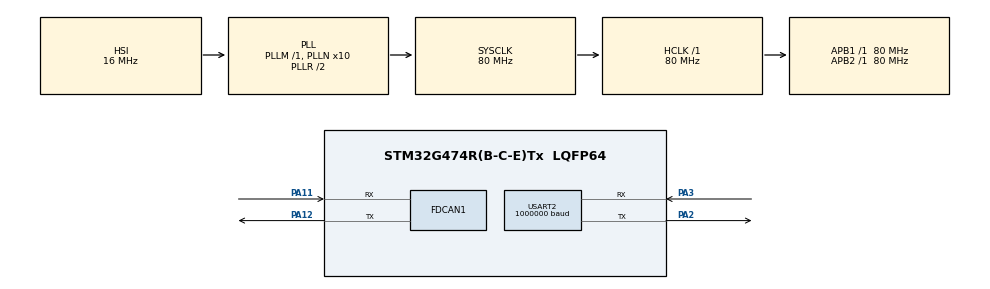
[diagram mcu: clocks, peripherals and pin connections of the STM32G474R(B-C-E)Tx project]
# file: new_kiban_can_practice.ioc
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FDCAN1.CalculateBaudRateNominal=1000000
FDCAN1.CalculateTimeBitNominal=1000
FDCAN1.CalculateTimeQuantumNominal=50.0
FDCAN1.DataPrescaler=2
FDCAN1.DataTimeSeg1=15
FDCAN1.DataTimeSeg2=4
FDCAN1.FrameFormat=FDCAN_FRAME_FD_BRS
FDCAN1.NominalPrescaler=4
FDCAN1.NominalTimeSeg1=15
FDCAN1.NominalTimeSeg2=4
FDCAN1.StdFiltersNbr=1
Mcu.Family=STM32G4
Mcu.Name=STM32G474R(B-C-E)Tx
Mcu.Package=LQFP64
NVIC.FDCAN1_IT0_IRQn=true\:1\:0\:true\:false\:true\:true\:true\:true
NVIC.FDCAN1_IT1_IRQn=true\:1\:0\:true\:false\:true\:true\:true\:true
NVIC.PriorityGroup=NVIC_PRIORITYGROUP_4
PA11.Mode=FDCAN_Activate
PA11.Signal=FDCAN1_RX
PA12.Mode=FDCAN_Activate
PA12.Signal=FDCAN1_TX
PA2.Mode=Asynchronous
PA2.Signal=USART2_TX
PA3.Mode=Asynchronous
PA3.Signal=USART2_RX
ProjectManager.HeapSize=0x200
ProjectManager.StackSize=0x400
ProjectManager.TargetToolchain=STM32CubeIDE
RCC.ADC12Freq_Value=80000000
RCC.ADC345Freq_Value=80000000
RCC.AHBFreq_Value=80000000
RCC.APB1Freq_Value=80000000
RCC.APB1TimFreq_Value=80000000
RCC.APB2Freq_Value=80000000
RCC.APB2TimFreq_Value=80000000
RCC.CortexFreq_Value=80000000
RCC.EXTERNAL_CLOCK_VALUE=12288000
RCC.HCLKFreq_Value=80000000
RCC.HSE_VALUE=8000000
RCC.HSI48_VALUE=48000000
RCC.HSI_VALUE=16000000
RCC.LSE_VALUE=32768
RCC.PLLN=10
RCC.SYSCLKFreq_VALUE=80000000
RCC.SYSCLKSource=RCC_SYSCLKSOURCE_PLLCLK
RCC.USBFreq_Value=80000000
RCC.VCOOutputFreq_Value=160000000
USART2.BaudRate=1000000
USART2.VirtualMode-Asynchronous=VM_ASYNC
VP_SYS_VS_DBSignals.Mode=DisableDeadBatterySignals
board=custom

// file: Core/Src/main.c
/* USER CODE BEGIN Header */
/**
  ******************************************************************************
  * @file           : main.c
  * @brief          : Main program body
  ******************************************************************************
  * @attention
  *
  * Copyright (c) 2024 STMicroelectronics.
  * All rights reserved.
  *
  * This software is licensed under terms that can be found in the LICENSE file
  * in the root directory of this software component.
  * If no LICENSE file comes with this software, it is provided AS-IS.
  *
  ******************************************************************************
  */
/* USER CODE END Header */
#include "main.h"

/* USER CODE BEGIN Includes */
#include <stdio.h>
/* USER CODE END Includes */

FDCAN_HandleTypeDef hfdcan1;

UART_HandleTypeDef huart2;

/* USER CODE BEGIN PV */
FDCAN_TxHeaderTypeDef TxHeader;
FDCAN_RxHeaderTypeDef RxHeader;
FDCAN_FilterTypeDef sFilterConfig;

uint8_t TxData[8] = {};
uint8_t RxData[8] = {};
uint32_t TxMailbox;

int16_t count = 0;
/* USER CODE END PV */

void SystemClock_Config(void);
static void MX_GPIO_Init(void);
static void MX_USART2_UART_Init(void);
static void MX_FDCAN1_Init(void);

/* USER CODE BEGIN 0 */

void HAL_FDCAN_RxFifo0Callback(FDCAN_HandleTypeDef *hfdcan, uint32_t RxFifo0ITs){
	if ((RxFifo0ITs & FDCAN_IT_RX_FIFO0_NEW_MESSAGE) != RESET) {

	        /* Retrieve Rx messages from RX FIFO0 */
		if (HAL_FDCAN_GetRxMessage(&hfdcan1, FDCAN_RX_FIFO0, &RxHeader, RxData) != HAL_OK) {
			printf("fdcan_getrxmessage is error\r\n");
			Error_Handler();
		}

		if (RxHeader.Identifier == 0x300) {
			count = (int16_t)((RxData[0] << 8) | RxData[1]);

		}

	}

}

void FDCAN_RxSettings(void){
	FDCAN_FilterTypeDef FDCAN_Filter_settings;
	FDCAN_Filter_settings.IdType = FDCAN_STANDARD_ID;
	FDCAN_Filter_settings.FilterIndex = 0;
	FDCAN_Filter_settings.FilterType = FDCAN_FILTER_RANGE;
	FDCAN_Filter_settings.FilterConfig = FDCAN_FILTER_TO_RXFIFO0;
	FDCAN_Filter_settings.FilterID1 = 0x200;
	FDCAN_Filter_settings.FilterID2 = 0x310;

	if (HAL_FDCAN_ConfigFilter(&hfdcan1, &FDCAN_Filter_settings) != HAL_OK){
		printf("fdcan_configfilter is error\r\n");
		Error_Handler();
	}

	if (HAL_FDCAN_ConfigGlobalFilter(&hfdcan1, FDCAN_REJECT, FDCAN_FILTER_REJECT, FDCAN_FILTER_REMOTE, FDCAN_FILTER_REMOTE) != HAL_OK){
		printf("fdcan_configglobalfilter is error\r\n");
		Error_Handler();
	}

	if (HAL_FDCAN_ActivateNotification(&hfdcan1, FDCAN_IT_RX_FIFO0_NEW_MESSAGE, 0) != HAL_OK){
		printf("fdcan_activatenotification is error\r\n");
		Error_Handler();
	}
}

void FDCAN_TxSettings(void) {
	  TxHeader.Identifier = 0x300;
	  TxHeader.IdType = FDCAN_STANDARD_ID;
	  TxHeader.TxFrameType = FDCAN_DATA_FRAME;
	  TxHeader.DataLength = FDCAN_DLC_BYTES_8;
	  TxHeader.ErrorStateIndicator = FDCAN_ESI_ACTIVE;
	  TxHeader.BitRateSwitch = FDCAN_BRS_ON;
	  TxHeader.FDFormat = FDCAN_FD_CAN;
	  TxHeader.TxEventFifoControl = FDCAN_NO_TX_EVENTS;
	  TxHeader.MessageMarker = 0;
	  if (HAL_FDCAN_Start(&hfdcan1) != HAL_OK) {
		  printf("fdcan_start is error\r\n");
		  Error_Handler();
	  }
}

int _write(int file, char *ptr, int len)
{
    HAL_UART_Transmit(&huart2,(uint8_t *)ptr,len,10);
    return len;
}
/* USER CODE END 0 */

int main(void)
{

  /* USER CODE BEGIN 1 */

	setbuf(stdout, NULL);

  /* USER CODE END 1 */

  /* MCU Configuration--------------------------------------------------------*/

  /* Reset of all peripherals, Initializes the Flash interface and the Systick. */
  HAL_Init();

  /* Configure the system clock */
  SystemClock_Config();

  /* Initialize all configured peripherals */
  MX_GPIO_Init();
  MX_USART2_UART_Init();
  MX_FDCAN1_Init();
  /* USER CODE BEGIN 2 */
  printf("start\r\n");
  FDCAN_RxSettings();
  FDCAN_TxSettings();
  printf("can start\r\n");
  /* USER CODE END 2 */

  /* Infinite loop */
  /* USER CODE BEGIN WHILE */
  while (1)
  {
	  printf("encoder:%d\r\n", count);
	  HAL_Delay(1);
    /* USER CODE END WHILE */

  }
}

void SystemClock_Config(void)
{
  RCC_OscInitTypeDef RCC_OscInitStruct = {0};
  RCC_ClkInitTypeDef RCC_ClkInitStruct = {0};

  /** Configure the main internal regulator output voltage
  */
  HAL_PWREx_ControlVoltageScaling(PWR_REGULATOR_VOLTAGE_SCALE1);

  /** Initializes the RCC Oscillators according to the specified parameters
  * in the RCC_OscInitTypeDef structure.
  */
  RCC_OscInitStruct.OscillatorType = RCC_OSCILLATORTYPE_HSI;
  RCC_OscInitStruct.HSIState = RCC_HSI_ON;
  RCC_OscInitStruct.HSICalibrationValue = RCC_HSICALIBRATION_DEFAULT;
  RCC_OscInitStruct.PLL.PLLState = RCC_PLL_ON;
  RCC_OscInitStruct.PLL.PLLSource = RCC_PLLSOURCE_HSI;
  RCC_OscInitStruct.PLL.PLLM = RCC_PLLM_DIV1;
  RCC_OscInitStruct.PLL.PLLN = 10;
  RCC_OscInitStruct.PLL.PLLP = RCC_PLLP_DIV2;
  RCC_OscInitStruct.PLL.PLLQ = RCC_PLLQ_DIV2;
  RCC_OscInitStruct.PLL.PLLR = RCC_PLLR_DIV2;
  if (HAL_RCC_OscConfig(&RCC_OscInitStruct) != HAL_OK)
  {
    Error_Handler();
  }

  /** Initializes the CPU, AHB and APB buses clocks
  */
  RCC_ClkInitStruct.ClockType = RCC_CLOCKTYPE_HCLK|RCC_CLOCKTYPE_SYSCLK
                              |RCC_CLOCKTYPE_PCLK1|RCC_CLOCKTYPE_PCLK2;
  RCC_ClkInitStruct.SYSCLKSource = RCC_SYSCLKSOURCE_PLLCLK;
  RCC_ClkInitStruct.AHBCLKDivider = RCC_SYSCLK_DIV1;
  RCC_ClkInitStruct.APB1CLKDivider = RCC_HCLK_DIV1;
  RCC_ClkInitStruct.APB2CLKDivider = RCC_HCLK_DIV1;

  if (HAL_RCC_ClockConfig(&RCC_ClkInitStruct, FLASH_LATENCY_2) != HAL_OK)
  {
    Error_Handler();
  }
}

static void MX_FDCAN1_Init(void)
{

  hfdcan1.Instance = FDCAN1;
  hfdcan1.Init.ClockDivider = FDCAN_CLOCK_DIV1;
  hfdcan1.Init.FrameFormat = FDCAN_FRAME_FD_BRS;
  hfdcan1.Init.Mode = FDCAN_MODE_NORMAL;
  hfdcan1.Init.AutoRetransmission = DISABLE;
  hfdcan1.Init.TransmitPause = DISABLE;
  hfdcan1.Init.ProtocolException = DISABLE;
  hfdcan1.Init.NominalPrescaler = 4;
  hfdcan1.Init.NominalSyncJumpWidth = 1;
  hfdcan1.Init.NominalTimeSeg1 = 15;
  hfdcan1.Init.NominalTimeSeg2 = 4;
  hfdcan1.Init.DataPrescaler = 2;
  hfdcan1.Init.DataSyncJumpWidth = 1;
  hfdcan1.Init.DataTimeSeg1 = 15;
  hfdcan1.Init.DataTimeSeg2 = 4;
  hfdcan1.Init.StdFiltersNbr = 1;
  hfdcan1.Init.ExtFiltersNbr = 0;
  hfdcan1.Init.TxFifoQueueMode = FDCAN_TX_FIFO_OPERATION;
  if (HAL_FDCAN_Init(&hfdcan1) != HAL_OK)
  {
    Error_Handler();
  }

}

static void MX_USART2_UART_Init(void)
{

  huart2.Instance = USART2;
  huart2.Init.BaudRate = 1000000;
  huart2.Init.WordLength = UART_WORDLENGTH_8B;
  huart2.Init.StopBits = UART_STOPBITS_1;
  huart2.Init.Parity = UART_PARITY_NONE;
  huart2.Init.Mode = UART_MODE_TX_RX;
  huart2.Init.HwFlowCtl = UART_HWCONTROL_NONE;
  huart2.Init.OverSampling = UART_OVERSAMPLING_16;
  huart2.Init.OneBitSampling = UART_ONE_BIT_SAMPLE_DISABLE;
  huart2.Init.ClockPrescaler = UART_PRESCALER_DIV1;
  huart2.AdvancedInit.AdvFeatureInit = UART_ADVFEATURE_NO_INIT;
  if (HAL_UART_Init(&huart2) != HAL_OK)
  {
    Error_Handler();
  }
  if (HAL_UARTEx_SetTxFifoThreshold(&huart2, UART_TXFIFO_THRESHOLD_1_8) != HAL_OK)
  {
    Error_Handler();
  }
  if (HAL_UARTEx_SetRxFifoThreshold(&huart2, UART_RXFIFO_THRESHOLD_1_8) != HAL_OK)
  {
    Error_Handler();
  }
  if (HAL_UARTEx_DisableFifoMode(&huart2) != HAL_OK)
  {
    Error_Handler();
  }

}

static void MX_GPIO_Init(void)
{

  /* GPIO Ports Clock Enable */
  __HAL_RCC_GPIOA_CLK_ENABLE();

}

void Error_Handler(void)
{
  /* USER CODE BEGIN Error_Handler_Debug */
  /* User can add his own implementation to report the HAL error return state */
  __disable_irq();
  printf("error\r\n");
  while (1)
  {
  }
  /* USER CODE END Error_Handler_Debug */
}
